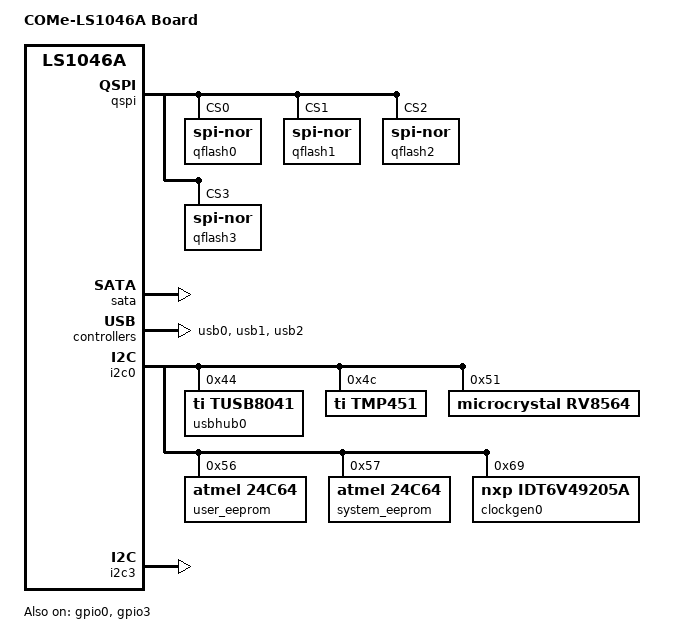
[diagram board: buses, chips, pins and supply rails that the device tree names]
/*
 * Device Tree Include file for Freescale Layerscape-1046A family SoC.
 *
 * Copyright 2016, Freescale Semiconductor
 *
 * Mingkai Hu <Mingkai.hu@freescale.com>
 *
 * This file is licensed under the terms of the GNU General Public
 * License version 2.  This program is licensed "as is" without any
 * warranty of any kind, whether express or implied.
 */

/*
 * Copyright (C) 2020-2021 MicroSys Electronics GmbH
 * Kay Potthoff <kay.potthoff@microsys.de>
 */

/dts-v1/;
/include/ "fsl-ls1046a.dtsi"

/ {
    model = "COMe-LS1046A Board";

    aliases {
        spi0 = &qspi;
    };

};

&soc {
        gpio0: gpio@2300000 {
            compatible = "fsl,qoriq-gpio";
            reg = <0x0 0x2300000 0x0 0x10000>;
            gpio-controller;
            #gpio-cells = <2>;
        };

        gpio1: gpio@2310000 {
            compatible = "fsl,qoriq-gpio";
            reg = <0x0 0x2310000 0x0 0x10000>;
            gpio-controller;
            #gpio-cells = <2>;
        };

        gpio2: gpio@2320000 {
            compatible = "fsl,qoriq-gpio";
            reg = <0x0 0x2320000 0x0 0x10000>;
            gpio-controller;
            #gpio-cells = <2>;
        };

        gpio3: gpio@2330000 {
            compatible = "fsl,qoriq-gpio";
            reg = <0x0 0x2330000 0x0 0x10000>;
            gpio-controller;
            #gpio-cells = <2>;
        };
};

&gpio0 {
    status = "okay";
};

&gpio3 {
    status = "okay";
};

&qspi {
    bus-num = <0>;
    status = "okay";
    spi-max-frequency = <50000000>;

    qflash0: qflash@0 {
        #address-cells = <1>;
        #size-cells = <1>;
        compatible = "jedec,spi-nor";
        reg = <0>;
    };

    qflash1: qflash@1 {
        #address-cells = <1>;
        #size-cells = <1>;
        compatible = "jedec,spi-nor";
        reg = <1>;
    };

    qflash2: qflash@2 {
        #address-cells = <1>;
        #size-cells = <1>;
        compatible = "jedec,spi-nor";
        reg = <2>;
        spi-cpha;
    };

    qflash3: qflash@3 {
        #address-cells = <1>;
        #size-cells = <1>;
        compatible = "jedec,spi-nor";
        reg = <3>;
    };
};

&sata {
    status = "okay";
};

&usb0 {
    status = "okay";
};

&usb1 {
    status = "okay";
};

&usb2 {
    status = "okay";
};

&i2c0 {
    status = "okay";
    u-boot,dm-pre-reloc;

    usbhub0: usbhub@44 { // TUSB8041
        compatible = "ti,tusb8041";
        reg = <0x44>;
        u-boot,i2c-offset-len = <1>;
    };

    tmp451: temp@4c {
        compatible = "ti,tmp451";
        reg = <0x4c>;
        u-boot,i2c-offset-len = <1>; /* one address byte */
    };

    rv8564: rtc@51 {
        compatible = "microcrystal,rv8564";
        reg = <0x51>;
        u-boot,i2c-offset-len = <1>; /* one address byte */
    };

    user_eeprom: user_eeprom@56 { // User EEPROM
       compatible = "atmel,24c64";
       reg = <0x56>;
       u-boot,i2c-offset-len = <2>; /* two address bytes */
       write-page-size = <32>;
       page-write-delay = <5000>; /* 5ms delay when writing */
       max-speed = <400000>;
    };

   system_eeprom: system_eeprom@57 { // System EEPROM
      compatible = "atmel,24c64";
      reg = <0x57>;
      u-boot,i2c-offset-len = <2>; /* two address bytes */
      write-page-size = <32>;
      page-write-delay = <5000>; /* 5ms delay when writing */
      max-speed = <400000>;
   };

    clockgen0: clockgen@69 { // IDT6V49205
        compatible = "nxp,idt6v49205a";
        reg = <0x69>;
        #clock-cells = <2>;
    };

};

&i2c3 {
    status = "okay";
    u-boot,dm-pre-reloc;
};
